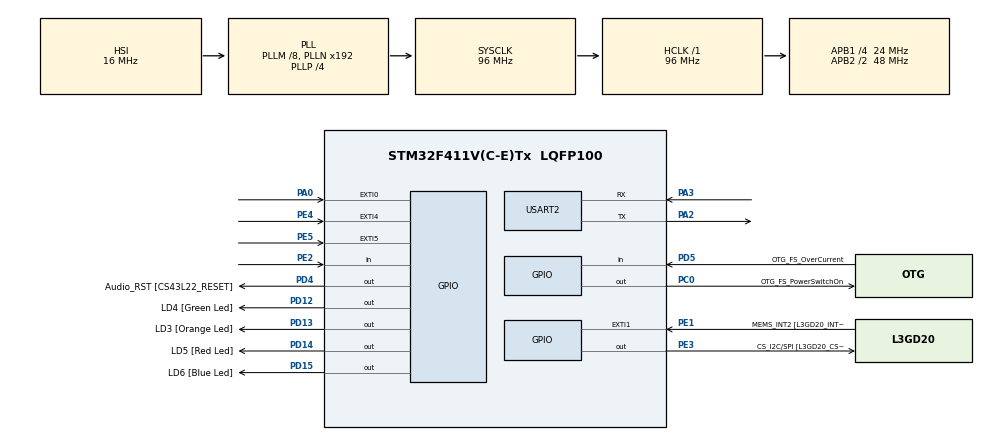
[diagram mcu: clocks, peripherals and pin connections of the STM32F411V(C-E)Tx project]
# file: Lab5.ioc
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Mcu.Family=STM32F4
Mcu.Name=STM32F411V(C-E)Tx
Mcu.Package=LQFP100
NVIC.PriorityGroup=NVIC_PRIORITYGROUP_0
PA0-WKUP.GPIO_ModeDefaultEXTI=GPIO_MODE_EVT_RISING
PA0-WKUP.Signal=GPXTI0
PA10.GPIO_Label=OTG_FS_ID
PA10.Signal=USB_OTG_FS_ID
PA11.GPIO_Label=OTG_FS_DM
PA11.Signal=USB_OTG_FS_DM
PA12.GPIO_Label=OTG_FS_DP
PA12.Signal=USB_OTG_FS_DP
PA13.GPIO_Label=SWDIO
PA13.Signal=SYS_JTMS-SWDIO
PA14.GPIO_Label=SWCLK
PA14.Signal=SYS_JTCK-SWCLK
PA2.Mode=Asynchronous
PA2.Signal=USART2_TX
PA3.Mode=Asynchronous
PA3.Signal=USART2_RX
PA4.GPIO_Label=I2S3_WS [CS43L22_LRCK]
PA4.GPIO_Mode=GPIO_MODE_AF_PP
PA4.GPIO_PuPd=GPIO_NOPULL
PA4.GPIO_Speed=GPIO_SPEED_FREQ_LOW
PA4.Signal=I2S3_WS
PA5.GPIO_Label=SPI1_SCK [L3GD20_SC/SPC]
PA5.Signal=SPI1_SCK
PA6.GPIO_Label=SPI1_MISO [L3GD20_AS0/SDO]
PA6.Signal=SPI1_MISO
PA7.GPIO_Label=SPI1_MOSI [L3GD20_SDA/SDI/SDO]
PA7.Signal=SPI1_MOSI
PA9.GPIO_Label=VBUS_FS
PA9.Signal=USB_OTG_FS_VBUS
PB10.GPIO_Label=CLK_IN [MP45DT02_CLK]
PB10.Signal=I2S2_CK
PB12.Signal=I2S2_WS
PB3.GPIO_Label=SWO
PB3.Signal=SYS_JTDO-SWO
PB6.GPIO_Label=Audio_SCL [CS43L22_SCL]
PB6.GPIO_Mode=GPIO_MODE_AF_OD
PB6.GPIO_PuPd=GPIO_NOPULL
PB6.GPIO_Speed=GPIO_SPEED_FREQ_LOW
PB6.Signal=I2C1_SCL
PB9.GPIO_Label=Audio_SDA [CS43L22_SDA]
PB9.GPIO_Mode=GPIO_MODE_AF_OD
PB9.GPIO_PuPd=GPIO_NOPULL
PB9.GPIO_Speed=GPIO_SPEED_FREQ_LOW
PB9.Signal=I2C1_SDA
PC0.GPIO_Label=OTG_FS_PowerSwitchOn
PC0.PinState=GPIO_PIN_SET
PC0.Signal=GPIO_Output
PC10.GPIO_Label=I2S3_SCK [CS43L22_SCLK]
PC10.GPIO_Mode=GPIO_MODE_AF_PP
PC10.GPIO_PuPd=GPIO_NOPULL
PC10.GPIO_Speed=GPIO_SPEED_FREQ_LOW
PC10.Signal=I2S3_CK
PC12.GPIO_Label=I2S3_SD [CS43L22_SDIN]
PC12.GPIO_Mode=GPIO_MODE_AF_PP
PC12.GPIO_PuPd=GPIO_NOPULL
PC12.GPIO_Speed=GPIO_SPEED_FREQ_LOW
PC12.Signal=I2S3_SD
PC14-OSC32_IN.GPIO_Label=PC14-OSC32_IN
PC14-OSC32_IN.Signal=RCC_OSC32_IN
PC15-OSC32_OUT.GPIO_Label=PC15-OSC32_OUT
PC15-OSC32_OUT.Signal=RCC_OSC32_OUT
PC3.GPIO_Label=PDM_OUT [MP45DT02_DOUT]
PC3.Signal=I2S2_SD
PC7.GPIO_Label=I2S3_MCK [CS43L22_MCLK]
PC7.GPIO_Mode=GPIO_MODE_AF_PP
PC7.GPIO_PuPd=GPIO_NOPULL
PC7.GPIO_Speed=GPIO_SPEED_FREQ_LOW
PC7.Signal=I2S3_MCK
PD12.GPIO_Label=LD4 [Green Led]
PD12.GPIO_PuPd=GPIO_NOPULL
PD12.GPIO_Speed=GPIO_SPEED_FREQ_LOW
PD12.Signal=GPIO_Output
PD13.GPIO_Label=LD3 [Orange Led]
PD13.GPIO_PuPd=GPIO_NOPULL
PD13.GPIO_Speed=GPIO_SPEED_FREQ_LOW
PD13.Signal=GPIO_Output
PD14.GPIO_Label=LD5 [Red Led]
PD14.GPIO_PuPd=GPIO_NOPULL
PD14.GPIO_Speed=GPIO_SPEED_FREQ_LOW
PD14.Signal=GPIO_Output
PD15.GPIO_Label=LD6 [Blue Led]
PD15.GPIO_PuPd=GPIO_NOPULL
PD15.GPIO_Speed=GPIO_SPEED_FREQ_LOW
PD15.Signal=GPIO_Output
PD4.GPIO_Label=Audio_RST [CS43L22_RESET]
PD4.Signal=GPIO_Output
PD5.GPIO_Label=OTG_FS_OverCurrent
PD5.Signal=GPIO_Input
PE1.GPIO_Label=MEMS_INT2 [L3GD20_INT2]
PE1.GPIO_ModeDefaultEXTI=GPIO_MODE_EVT_RISING
PE1.Signal=GPXTI1
PE2.Signal=GPIO_Input
PE3.GPIO_Label=CS_I2C/SPI [L3GD20_CS_I2C/SPI]
PE3.Signal=GPIO_Output
PE4.GPIO_ModeDefaultEXTI=GPIO_MODE_EVT_RISING
PE4.Signal=GPXTI4
PE5.GPIO_ModeDefaultEXTI=GPIO_MODE_EVT_RISING
PE5.Signal=GPXTI5
PH0\ -\ OSC_IN.GPIO_Label=PH0-OSC_IN
PH0\ -\ OSC_IN.Signal=RCC_OSC_IN
PH1\ -\ OSC_OUT.GPIO_Label=PH1-OSC_OUT
PH1\ -\ OSC_OUT.Signal=RCC_OSC_OUT
ProjectManager.HeapSize=0x200
ProjectManager.StackSize=0x400
ProjectManager.TargetToolchain=STM32CubeIDE
RCC.48MHZClocksFreq_Value=48000000
RCC.AHBFreq_Value=96000000
RCC.APB1CLKDivider=RCC_HCLK_DIV4
RCC.APB1Freq_Value=24000000
RCC.APB1TimFreq_Value=48000000
RCC.APB2CLKDivider=RCC_HCLK_DIV2
RCC.APB2Freq_Value=48000000
RCC.APB2TimFreq_Value=96000000
RCC.CortexFreq_Value=96000000
RCC.HCLKFreq_Value=96000000
RCC.HSE_VALUE=8000000
RCC.HSI_VALUE=16000000
RCC.LSE_VALUE=32768
RCC.PLLI2SM=5
RCC.PLLI2SN=200
RCC.PLLM=8
RCC.PLLP=RCC_PLLP_DIV4
RCC.PLLQ=8
RCC.SYSCLKFreq_VALUE=96000000
RCC.SYSCLKSource=RCC_SYSCLKSOURCE_PLLCLK
RCC.VCOOutputFreq_Value=384000000
USART2.VirtualMode=VM_ASYNC
board=STM32F411E-DISCO

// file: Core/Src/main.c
/* USER CODE BEGIN Header */
/**
  ******************************************************************************
  * @file           : main.c
  * @brief          : Main program body
  ******************************************************************************
  * @attention
  *
  * Copyright (c) 2023 STMicroelectronics.
  * All rights reserved.
  *
  * This software is licensed under terms that can be found in the LICENSE file
  * in the root directory of this software component.
  * If no LICENSE file comes with this software, it is provided AS-IS.
  *
  ******************************************************************************
  */
/* USER CODE END Header */
#include "main.h"

UART_HandleTypeDef huart2;

void SystemClock_Config(void);
static void MX_GPIO_Init(void);
static void MX_USART2_UART_Init(void);

int main(void)
{
  /* USER CODE BEGIN 1 */
	int pin_leds[4] = {LD4_Pin, LD3_Pin, LD5_Pin, LD6_Pin};
	int pins = sizeof(pin_leds) / sizeof(pin_leds[0]);
	unsigned int index = 0;
	uint8_t rcvBuf[1];
	HAL_StatusTypeDef res;
  /* USER CODE END 1 */

  /* MCU Configuration--------------------------------------------------------*/

  /* Reset of all peripherals, Initializes the Flash interface and the Systick. */
  HAL_Init();

  /* Configure the system clock */
  SystemClock_Config();

  /* Initialize all configured peripherals */
  MX_GPIO_Init();
  MX_USART2_UART_Init();

  /* Infinite loop */
  /* USER CODE BEGIN WHILE */
  while (1)
  {
	  res = HAL_UART_Receive(&huart2, rcvBuf, 1, 10);
	  if (res == HAL_OK)
	  {
		  if ('0' < rcvBuf[0] && rcvBuf[0] < '5')
		  {
			  index = rcvBuf[0] - '1';
			  HAL_GPIO_TogglePin(GPIOD, pin_leds[index]);
		  }
		  else if (rcvBuf[0] == '5')
		  {
			  for (int i = 0; i<pins; i++)
			  {
				  HAL_GPIO_WritePin(GPIOD, pin_leds[i], GPIO_PIN_SET);
			  }
		  }
		  else if (rcvBuf[0] == '6')
		  {
			  for (int i = 0; i<pins; i++)
			  {
				  HAL_GPIO_WritePin(GPIOD, pin_leds[i], GPIO_PIN_RESET);
			  }
		  }
		  else if (rcvBuf[0] == '\r') {}
		  else {
			  HAL_UART_Transmit(&huart2, (uint8_t *)" - Unexpected CMD\r\n", 19, 100);
		  }
	  }
    /* USER CODE END WHILE */

  }
}

void SystemClock_Config(void)
{
  RCC_OscInitTypeDef RCC_OscInitStruct = {0};
  RCC_ClkInitTypeDef RCC_ClkInitStruct = {0};

  /** Configure the main internal regulator output voltage
  */
  __HAL_RCC_PWR_CLK_ENABLE();
  __HAL_PWR_VOLTAGESCALING_CONFIG(PWR_REGULATOR_VOLTAGE_SCALE1);

  /** Initializes the RCC Oscillators according to the specified parameters
  * in the RCC_OscInitTypeDef structure.
  */
  RCC_OscInitStruct.OscillatorType = RCC_OSCILLATORTYPE_HSI;
  RCC_OscInitStruct.HSIState = RCC_HSI_ON;
  RCC_OscInitStruct.HSICalibrationValue = RCC_HSICALIBRATION_DEFAULT;
  RCC_OscInitStruct.PLL.PLLState = RCC_PLL_ON;
  RCC_OscInitStruct.PLL.PLLSource = RCC_PLLSOURCE_HSI;
  RCC_OscInitStruct.PLL.PLLM = 8;
  RCC_OscInitStruct.PLL.PLLN = 192;
  RCC_OscInitStruct.PLL.PLLP = RCC_PLLP_DIV4;
  RCC_OscInitStruct.PLL.PLLQ = 8;
  if (HAL_RCC_OscConfig(&RCC_OscInitStruct) != HAL_OK)
  {
    Error_Handler();
  }

  /** Initializes the CPU, AHB and APB buses clocks
  */
  RCC_ClkInitStruct.ClockType = RCC_CLOCKTYPE_HCLK|RCC_CLOCKTYPE_SYSCLK
                              |RCC_CLOCKTYPE_PCLK1|RCC_CLOCKTYPE_PCLK2;
  RCC_ClkInitStruct.SYSCLKSource = RCC_SYSCLKSOURCE_PLLCLK;
  RCC_ClkInitStruct.AHBCLKDivider = RCC_SYSCLK_DIV1;
  RCC_ClkInitStruct.APB1CLKDivider = RCC_HCLK_DIV4;
  RCC_ClkInitStruct.APB2CLKDivider = RCC_HCLK_DIV2;

  if (HAL_RCC_ClockConfig(&RCC_ClkInitStruct, FLASH_LATENCY_3) != HAL_OK)
  {
    Error_Handler();
  }
}

static void MX_USART2_UART_Init(void)
{

  huart2.Instance = USART2;
  huart2.Init.BaudRate = 115200;
  huart2.Init.WordLength = UART_WORDLENGTH_8B;
  huart2.Init.StopBits = UART_STOPBITS_1;
  huart2.Init.Parity = UART_PARITY_NONE;
  huart2.Init.Mode = UART_MODE_TX_RX;
  huart2.Init.HwFlowCtl = UART_HWCONTROL_NONE;
  huart2.Init.OverSampling = UART_OVERSAMPLING_16;
  if (HAL_UART_Init(&huart2) != HAL_OK)
  {
    Error_Handler();
  }

}

static void MX_GPIO_Init(void)
{
  GPIO_InitTypeDef GPIO_InitStruct = {0};

  /* GPIO Ports Clock Enable */
  __HAL_RCC_GPIOE_CLK_ENABLE();
  __HAL_RCC_GPIOC_CLK_ENABLE();
  __HAL_RCC_GPIOH_CLK_ENABLE();
  __HAL_RCC_GPIOA_CLK_ENABLE();
  __HAL_RCC_GPIOB_CLK_ENABLE();
  __HAL_RCC_GPIOD_CLK_ENABLE();

  /*Configure GPIO pin Output Level */
  HAL_GPIO_WritePin(CS_I2C_SPI_GPIO_Port, CS_I2C_SPI_Pin, GPIO_PIN_RESET);

  /*Configure GPIO pin Output Level */
  HAL_GPIO_WritePin(OTG_FS_PowerSwitchOn_GPIO_Port, OTG_FS_PowerSwitchOn_Pin, GPIO_PIN_SET);

  /*Configure GPIO pin Output Level */
  HAL_GPIO_WritePin(GPIOD, LD4_Pin|LD3_Pin|LD5_Pin|LD6_Pin
                          |Audio_RST_Pin, GPIO_PIN_RESET);

  /*Configure GPIO pin : PE2 */
  GPIO_InitStruct.Pin = GPIO_PIN_2;
  GPIO_InitStruct.Mode = GPIO_MODE_INPUT;
  GPIO_InitStruct.Pull = GPIO_NOPULL;
  HAL_GPIO_Init(GPIOE, &GPIO_InitStruct);

  /*Configure GPIO pin : CS_I2C_SPI_Pin */
  GPIO_InitStruct.Pin = CS_I2C_SPI_Pin;
  GPIO_InitStruct.Mode = GPIO_MODE_OUTPUT_PP;
  GPIO_InitStruct.Pull = GPIO_NOPULL;
  GPIO_InitStruct.Speed = GPIO_SPEED_FREQ_LOW;
  HAL_GPIO_Init(CS_I2C_SPI_GPIO_Port, &GPIO_InitStruct);

  /*Configure GPIO pins : PE4 PE5 MEMS_INT2_Pin */
  GPIO_InitStruct.Pin = GPIO_PIN_4|GPIO_PIN_5|MEMS_INT2_Pin;
  GPIO_InitStruct.Mode = GPIO_MODE_EVT_RISING;
  GPIO_InitStruct.Pull = GPIO_NOPULL;
  HAL_GPIO_Init(GPIOE, &GPIO_InitStruct);

  /*Configure GPIO pin : OTG_FS_PowerSwitchOn_Pin */
  GPIO_InitStruct.Pin = OTG_FS_PowerSwitchOn_Pin;
  GPIO_InitStruct.Mode = GPIO_MODE_OUTPUT_PP;
  GPIO_InitStruct.Pull = GPIO_NOPULL;
  GPIO_InitStruct.Speed = GPIO_SPEED_FREQ_LOW;
  HAL_GPIO_Init(OTG_FS_PowerSwitchOn_GPIO_Port, &GPIO_InitStruct);

  /*Configure GPIO pin : PDM_OUT_Pin */
  GPIO_InitStruct.Pin = PDM_OUT_Pin;
  GPIO_InitStruct.Mode = GPIO_MODE_AF_PP;
  GPIO_InitStruct.Pull = GPIO_NOPULL;
  GPIO_InitStruct.Speed = GPIO_SPEED_FREQ_LOW;
  GPIO_InitStruct.Alternate = GPIO_AF5_SPI2;
  HAL_GPIO_Init(PDM_OUT_GPIO_Port, &GPIO_InitStruct);

  /*Configure GPIO pin : PA0 */
  GPIO_InitStruct.Pin = GPIO_PIN_0;
  GPIO_InitStruct.Mode = GPIO_MODE_EVT_RISING;
  GPIO_InitStruct.Pull = GPIO_NOPULL;
  HAL_GPIO_Init(GPIOA, &GPIO_InitStruct);

  /*Configure GPIO pin : I2S3_WS_Pin */
  GPIO_InitStruct.Pin = I2S3_WS_Pin;
  GPIO_InitStruct.Mode = GPIO_MODE_AF_PP;
  GPIO_InitStruct.Pull = GPIO_NOPULL;
  GPIO_InitStruct.Speed = GPIO_SPEED_FREQ_LOW;
  GPIO_InitStruct.Alternate = GPIO_AF6_SPI3;
  HAL_GPIO_Init(I2S3_WS_GPIO_Port, &GPIO_InitStruct);

  /*Configure GPIO pins : SPI1_SCK_Pin SPI1_MISO_Pin SPI1_MOSI_Pin */
  GPIO_InitStruct.Pin = SPI1_SCK_Pin|SPI1_MISO_Pin|SPI1_MOSI_Pin;
  GPIO_InitStruct.Mode = GPIO_MODE_AF_PP;
  GPIO_InitStruct.Pull = GPIO_NOPULL;
  GPIO_InitStruct.Speed = GPIO_SPEED_FREQ_VERY_HIGH;
  GPIO_InitStruct.Alternate = GPIO_AF5_SPI1;
  HAL_GPIO_Init(GPIOA, &GPIO_InitStruct);

  /*Configure GPIO pins : CLK_IN_Pin PB12 */
  GPIO_InitStruct.Pin = CLK_IN_Pin|GPIO_PIN_12;
  GPIO_InitStruct.Mode = GPIO_MODE_AF_PP;
  GPIO_InitStruct.Pull = GPIO_NOPULL;
  GPIO_InitStruct.Speed = GPIO_SPEED_FREQ_LOW;
  GPIO_InitStruct.Alternate = GPIO_AF5_SPI2;
  HAL_GPIO_Init(GPIOB, &GPIO_InitStruct);

  /*Configure GPIO pins : LD4_Pin LD3_Pin LD5_Pin LD6_Pin
                           Audio_RST_Pin */
  GPIO_InitStruct.Pin = LD4_Pin|LD3_Pin|LD5_Pin|LD6_Pin
                          |Audio_RST_Pin;
  GPIO_InitStruct.Mode = GPIO_MODE_OUTPUT_PP;
  GPIO_InitStruct.Pull = GPIO_NOPULL;
  GPIO_InitStruct.Speed = GPIO_SPEED_FREQ_LOW;
  HAL_GPIO_Init(GPIOD, &GPIO_InitStruct);

  /*Configure GPIO pins : I2S3_MCK_Pin I2S3_SCK_Pin I2S3_SD_Pin */
  GPIO_InitStruct.Pin = I2S3_MCK_Pin|I2S3_SCK_Pin|I2S3_SD_Pin;
  GPIO_InitStruct.Mode = GPIO_MODE_AF_PP;
  GPIO_InitStruct.Pull = GPIO_NOPULL;
  GPIO_InitStruct.Speed = GPIO_SPEED_FREQ_LOW;
  GPIO_InitStruct.Alternate = GPIO_AF6_SPI3;
  HAL_GPIO_Init(GPIOC, &GPIO_InitStruct);

  /*Configure GPIO pin : VBUS_FS_Pin */
  GPIO_InitStruct.Pin = VBUS_FS_Pin;
  GPIO_InitStruct.Mode = GPIO_MODE_INPUT;
  GPIO_InitStruct.Pull = GPIO_NOPULL;
  HAL_GPIO_Init(VBUS_FS_GPIO_Port, &GPIO_InitStruct);

  /*Configure GPIO pins : OTG_FS_ID_Pin OTG_FS_DM_Pin OTG_FS_DP_Pin */
  GPIO_InitStruct.Pin = OTG_FS_ID_Pin|OTG_FS_DM_Pin|OTG_FS_DP_Pin;
  GPIO_InitStruct.Mode = GPIO_MODE_AF_PP;
  GPIO_InitStruct.Pull = GPIO_NOPULL;
  GPIO_InitStruct.Speed = GPIO_SPEED_FREQ_VERY_HIGH;
  GPIO_InitStruct.Alternate = GPIO_AF10_OTG_FS;
  HAL_GPIO_Init(GPIOA, &GPIO_InitStruct);

  /*Configure GPIO pin : OTG_FS_OverCurrent_Pin */
  GPIO_InitStruct.Pin = OTG_FS_OverCurrent_Pin;
  GPIO_InitStruct.Mode = GPIO_MODE_INPUT;
  GPIO_InitStruct.Pull = GPIO_NOPULL;
  HAL_GPIO_Init(OTG_FS_OverCurrent_GPIO_Port, &GPIO_InitStruct);

  /*Configure GPIO pins : Audio_SCL_Pin Audio_SDA_Pin */
  GPIO_InitStruct.Pin = Audio_SCL_Pin|Audio_SDA_Pin;
  GPIO_InitStruct.Mode = GPIO_MODE_AF_OD;
  GPIO_InitStruct.Pull = GPIO_NOPULL;
  GPIO_InitStruct.Speed = GPIO_SPEED_FREQ_LOW;
  GPIO_InitStruct.Alternate = GPIO_AF4_I2C1;
  HAL_GPIO_Init(GPIOB, &GPIO_InitStruct);

}

void Error_Handler(void)
{
  __disable_irq();
  while (1)
  {
  }
}
